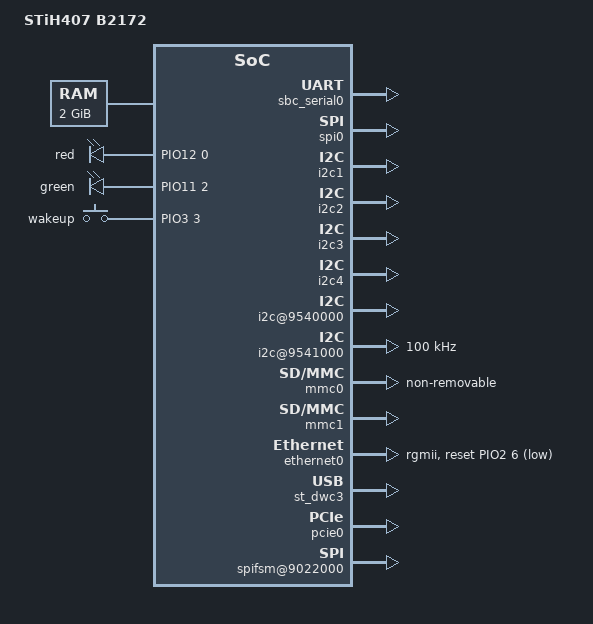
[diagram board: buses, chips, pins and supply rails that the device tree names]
/*
 * Copyright (C) 2014 STMicroelectronics (R&D) Limited.
 * Author: Giuseppe Cavallaro <peppe.cavallaro@st.com>
 * Author:  Seraphin Bonnaffe	<seraphin.bonnaffe@st.com>
 *
 * This program is free software; you can redistribute it and/or modify
 * it under the terms of the GNU General Public License version 2 as
 * published by the Free Software Foundation.
 */
/dts-v1/;
#include "stih407.dtsi"
/ {
	model = "STiH407 B2172";
	compatible = "st,stih407", "st,stih407-b2172";

	cpus {
		#address-cells = <1>;
		#size-cells = <0>;
		cpu@1 {
			device_type = "cpu";
			compatible = "arm,cortex-a9";
			reg = <1>;
		};
	};

	memory {
		device_type = "memory";
		reg = <0x40000000 0x80000000>;
	};

	chosen {
		bootargs = "console=ttyAS0,115200";
		linux,stdout-path = &sbc_serial0;
	};

	aliases {
		ttyAS0 = &sbc_serial0;
		ethernet0 = &ethernet0;
		miphy0 = &miphy28lp_phy0;
		miphy1 = &miphy28lp_phy1;
		miphy2 = &miphy28lp_phy2;
	};

	soc {
		sbc_serial0: serial@9530000 {
			status = "okay";
		};

		leds {
			compatible = "gpio-leds";
			red {
				#gpio-cells = <2>;
				gpios = <&PIO12 0 0>;
				linux,default-trigger = "heartbeat";
			};
			green {
				#gpio-cells = <2>;
				gpios = <&PIO11 2 0>;
				default-state = "off";
			};
		};

		rc: rc@09518000 {
			status = "disabled";
		};

		/* SSC0 to connector CN1031 */
		spi0: spi@9840000 {
			status = "okay";
		};

		/* SSC1 to connector CN37 */
		i2c1: i2c@9841000 {
			status = "okay";
		};

		/* SSC2 to PCIe connector, E2PROM */
		i2c2: i2c@9842000 {
			status = "okay";
		};

		/* SSC3 to MLB connector */
		i2c3: i2c@9843000 {
			status = "okay";
			pinctrl-0 = <&pinctrl_i2c3_alt3_0>;
		};

		/* SSC4 to PCIe connector */
		i2c4: i2c@9844000 {
			status = "okay";
		};

		/* SSC10 to STV0368 */
		i2c@9540000 {
			status = "okay";
		};

		/* SSC11 to HDMI */
		i2c@9541000 {
			status = "okay";
			/* HDMI V1.3a supports Standard mode only */
			clock-frequency = <100000>;
			st,i2c-min-scl-pulse-width-us = <0>;
			st,i2c-min-sda-pulse-width-us = <5>;
		};

		mmc0: sdhci@09060000 {
			status = "okay";
			non-removable;
		};

		mmc1: sdhci@09080000 {
			status = "okay";
		};

		lpm:stm-lpm@9400000 {
			status = "okay";
			gpios = <&PIO4 0 0>;
			st,lmi-ret-gpio = <&PIO5 2 0>;
                };

		gpio_keys {
			compatible = "gpio-keys";
			#address-cells = <1>;
			#size-cells = <0>;
			button@1 {
				label = "wakeup";
				linux,code = <41>;
				gpios = <&PIO3 3 0>;
				gpio-key,wakeup;
			};
		};

		ethernet0: dwmac@9630000 {
			st,tx-retime-src = "clkgen";
			status = "okay";
			phy-mode = "rgmii";
			pinctrl-0 = <&pinctrl_rgmii1 &pinctrl_rgmii1_mdio>;

			snps,phy-bus-name = "stmmac";
			snps,phy-bus-id = <0>;
			snps,phy-addr = <0>;
			snps,reset-gpio = <&PIO2 6>;
			snps,reset-active-low;
			snps,reset-delays-us = <0 10000 1000000>;
		};

		st_dwc3: dwc3@8f94000 {
			status = "okay";
		};

		miphy28lp_phy0: miphy28lp@0 {
                        status = "okay";
                };

		pcie0: pcie@9b00000 {
			status = "okay";
		};

		spifsm@9022000 {
			status = "okay";
			flash-name = "n25q256";
			partitions = <&b2172_fsm_partitions>;

			b2172_fsm_partitions: partitions-b2172 {
				#address-cells = <1>;
				#size-cells = <1>;
				partition@0 {
					label = "boot";
					/* 20M */
					reg = <0x00000000 0x01400000>;
				};
				partition@1400000 {
					label = "rest";
					/* 12M */
					reg = <0x01400000 0x00c00000>;
				};
			};
		};
	};
};
